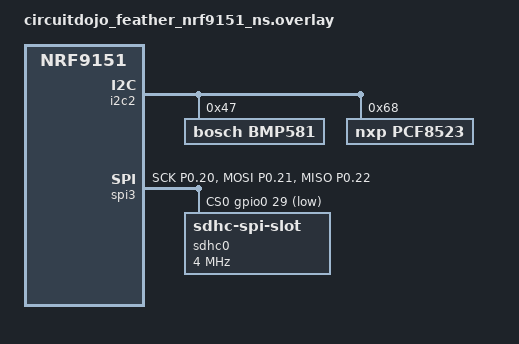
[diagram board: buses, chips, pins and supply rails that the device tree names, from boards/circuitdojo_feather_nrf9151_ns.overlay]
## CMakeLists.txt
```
# SPDX-License-Identifier: Apache-2.0

cmake_minimum_required(VERSION 3.20.0)
find_package(Zephyr REQUIRED HINTS $ENV{ZEPHYR_BASE})
project(flight_timer)

target_sources(app PRIVATE
    src/main.c
    src/supl_assist.c
    src/gps_state.c
    src/baro_state.c
    src/rtc_sync.c
    src/sd_logger.c
    src/session_mgr.c
    src/flight_timer.c
    src/session_upload.c
    src/power_mgr.c
)

target_include_directories(app PRIVATE src)
```

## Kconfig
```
# Flight Timer Application Kconfig

menu "Flight Timer Configuration"

config GNSS_SAMPLE_SUPL_HOSTNAME
	string "SUPL server hostname"
	default "supl.google.com"
	help
	  Hostname for SUPL A-GNSS assistance server.
	  Common options: supl.google.com, supl.nokia.com, lbs.geo.t-mobile.com

config GNSS_SAMPLE_SUPL_PORT
	int "SUPL server port"
	default 7276
	help
	  Port for SUPL A-GNSS assistance server.

config FLIGHT_TIMER_LOG_BACKEND_SD
	bool "Enable SD card log backend"
	default y
	depends on LOG
	help
	  Enables logging to SD card file.

endmenu

source "Kconfig.zephyr"
```

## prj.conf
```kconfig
# General
CONFIG_GPIO=y
CONFIG_FPU=y
CONFIG_STDOUT_CONSOLE=y
CONFIG_UART_INTERRUPT_DRIVEN=y
CONFIG_PICOLIBC_IO_FLOAT=n

# Use newlib for SUPL compatibility
CONFIG_NEWLIB_LIBC=y
CONFIG_NEWLIB_LIBC_NANO=n
CONFIG_NEWLIB_LIBC_FLOAT_PRINTF=y

# Logging - deferred mode required for LOG_BACKEND_FS
CONFIG_LOG=y
CONFIG_LOG_MODE_DEFERRED=y
CONFIG_LOG_BUFFER_SIZE=16384
CONFIG_LOG_DEFAULT_LEVEL=3
CONFIG_LOG_PRINTK=y
CONFIG_LOG_TIMESTAMP_USE_REALTIME=y

# Reduce kernel/OS log level to suppress mutex debug messages
CONFIG_KERNEL_LOG_LEVEL_WRN=y

# Filesystem logging backend - optimized for 512MB SD card
CONFIG_LOG_BACKEND_FS=y
CONFIG_LOG_BACKEND_FS_DIR="/SD:"
CONFIG_LOG_BACKEND_FS_FILE_PREFIX="log."
CONFIG_LOG_BACKEND_FS_FILE_SIZE=1048576
CONFIG_LOG_BACKEND_FS_FILES_LIMIT=400
CONFIG_LOG_BACKEND_FS_OVERWRITE=y
CONFIG_LOG_BACKEND_FS_APPEND_TO_NEWEST_FILE=y

# nRF Modem library
CONFIG_NRF_MODEM_LIB=y

# LTE Link Control with GPS support
CONFIG_LTE_LINK_CONTROL=y
CONFIG_LTE_NETWORK_MODE_LTE_M_GPS=y

# Power saving for LTE
CONFIG_LTE_LC_PSM_MODULE=y
CONFIG_LTE_PSM_REQ=y
CONFIG_LTE_PSM_REQ_RPTAU="00101000"
CONFIG_LTE_PSM_REQ_RAT="00000011"
CONFIG_LTE_LC_EDRX_MODULE=y
CONFIG_LTE_EDRX_REQ=y

# SUPL client for A-GNSS
CONFIG_SUPL_CLIENT_LIB=y

# Networking for SUPL
CONFIG_NETWORKING=y
CONFIG_NET_SOCKETS_OFFLOAD=y
CONFIG_NET_SOCKETS=y
CONFIG_NET_NATIVE=n
CONFIG_POSIX_API=y

# HTTP client for session uploads
CONFIG_HTTP_CLIENT=y

# I2C for sensors
CONFIG_I2C=y

# SPI for SD card
CONFIG_SPI=y

# BMP581 barometric pressure sensor
CONFIG_SENSOR=y
CONFIG_BMP581=y

# RTC
CONFIG_RTC=y
CONFIG_RTC_PCF8523=y

# SD card and filesystem
CONFIG_DISK_ACCESS=y
CONFIG_DISK_DRIVER_SDMMC=y
CONFIG_SDMMC_STACK=y
CONFIG_SDHC=y
CONFIG_SPI_SDHC=y
# SD init timeout (milliseconds) - reduce for faster failure, increase if card is slow
CONFIG_SD_INIT_TIMEOUT=1000
CONFIG_FILE_SYSTEM=y
CONFIG_FAT_FILESYSTEM_ELM=y
CONFIG_FS_FATFS_LFN=y
CONFIG_FS_FATFS_LFN_MODE_HEAP=y
CONFIG_FS_FATFS_MAX_LFN=255
CONFIG_FS_FATFS_REENTRANT=y

# Hardware information for device ID
CONFIG_HWINFO=y
CONFIG_HW_ID_LIBRARY=y
CONFIG_HW_ID_LIBRARY_SOURCE_DEVICE_ID=y

# Random number generator for UUID
CONFIG_ENTROPY_GENERATOR=y
CONFIG_TEST_RANDOM_GENERATOR=n

# Memory configuration
CONFIG_HEAP_MEM_POOL_SIZE=8192
CONFIG_MAIN_STACK_SIZE=20480
CONFIG_SYSTEM_WORKQUEUE_STACK_SIZE=4096
CONFIG_LOG_PROCESS_THREAD_STACK_SIZE=4096
CONFIG_LTE_LC_WORKQUEUE_STACK_SIZE=2048

# Enable heap runtime statistics for memory usage monitoring
CONFIG_SYS_HEAP_RUNTIME_STATS=y

# Enable thread runtime statistics for CPU utilization monitoring
CONFIG_THREAD_RUNTIME_STATS=y
CONFIG_SCHED_THREAD_USAGE=y
CONFIG_SCHED_THREAD_USAGE_ALL=y
CONFIG_SCHED_THREAD_USAGE_AUTO_ENABLE=y

# PMIC LED driver (from board config)
CONFIG_LED=y
CONFIG_LED_NPM1300=y

# Disable unused MCUboot/DFU features to silence warnings
CONFIG_IMG_MANAGER=n
CONFIG_MCUBOOT_IMG_MANAGER=n

# Disable external flash (we're using SPI3 for SD card instead)
CONFIG_SPI_NOR=n
CONFIG_PM_EXTERNAL_FLASH_MCUBOOT_SECONDARY=n

# Power off support for graceful shutdown
CONFIG_POWEROFF=y
```

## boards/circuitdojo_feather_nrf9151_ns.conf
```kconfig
# Board-specific configuration for Circuit Dojo nRF9151 Feather

# Logging
CONFIG_LOG=y
CONFIG_LOG_PRINTK=y

# Enable I2C
CONFIG_I2C=y

# PMIC LED driver
CONFIG_LED=y
CONFIG_LED_NPM1300=y

# SUPL server configuration
CONFIG_GNSS_SAMPLE_SUPL_HOSTNAME="supl.google.com"
CONFIG_GNSS_SAMPLE_SUPL_PORT=7276
```

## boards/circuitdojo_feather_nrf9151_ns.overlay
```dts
/*
 * Flight Timer devicetree overlay for Circuit Dojo nRF9151 Feather
 *
 * Disables onboard flash and reconfigures SPI3 for SD card:
 *   - SCK  = P0.20
 *   - MOSI = P0.21
 *   - MISO = P0.22
 *   - CS   = P0.29
 */

/ {
	aliases {
		rtc = &pcf8523;
		pressure = &bmp581;
		/delete-property/ spi-flash0;
		/delete-property/ ext-flash;
	};

	chosen {
		/delete-property/ nordic,pm-ext-flash;
	};

	/* Disable the littlefs fstab entry that uses flash */
	fstab {
		/delete-node/ lfs;
	};
};

/* Override SPI3 pinctrl for SD card pins */
&pinctrl {
	spi3_default: spi3_default {
		group1 {
			psels = <NRF_PSEL(SPIM_SCK, 0, 20)>,
				<NRF_PSEL(SPIM_MOSI, 0, 21)>,
				<NRF_PSEL(SPIM_MISO, 0, 22)>;
		};
	};

	spi3_sleep: spi3_sleep {
		group1 {
			psels = <NRF_PSEL(SPIM_SCK, 0, 20)>,
				<NRF_PSEL(SPIM_MOSI, 0, 21)>,
				<NRF_PSEL(SPIM_MISO, 0, 22)>;
			low-power-enable;
		};
	};
};

/* I2C2 bus: BMP581 barometer, PCF8523 RTC */
&i2c2 {
	status = "okay";

	/* BMP581 barometric pressure sensor */
	bmp581: bmp581@47 {
		compatible = "bosch,bmp581";
		reg = <0x47>;
	};

	/* PCF8523 RTC with battery backup */
	pcf8523: rtc@68 {
		compatible = "nxp,pcf8523";
		reg = <0x68>;
		battery-switch-over = "standard";
		quartz-load-femtofarads = <7000>;
	};
};

/* Disable the onboard flash */
&w25q128jv {
	status = "disabled";
};

/* Reconfigure SPI3 for SD card */
&spi3 {
	status = "okay";
	cs-gpios = <&gpio0 29 GPIO_ACTIVE_LOW>;
	pinctrl-0 = <&spi3_default>;
	pinctrl-1 = <&spi3_sleep>;
	pinctrl-names = "default", "sleep";

	/delete-node/ w25q128jv@0;

	sdhc0: sdhc@0 {
		compatible = "zephyr,sdhc-spi-slot";
		reg = <0>;
		status = "okay";
		/* 4MHz for data transfer - driver uses 400KHz for init automatically */
		spi-max-frequency = <4000000>;
		power-delay-ms = <500>;
		mmc {
			compatible = "zephyr,sdmmc-disk";
			disk-name = "SD";
			status = "okay";
		};
	};
};
```

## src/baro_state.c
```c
/*
 * Barometer State Machine
 * Tracks flight state based on pressure altitude changes
 */

#include "baro_state.h"

#include <zephyr/kernel.h>
#include <zephyr/logging/log.h>
#include <math.h>
#include <string.h>

LOG_MODULE_REGISTER(baro_state, CONFIG_LOG_DEFAULT_LEVEL);

/* Configuration */
#define SAMPLE_RATE_HZ          10      /* 10 Hz sampling */
#define BUFFER_SECONDS          20      /* 20 second window */
#define BUFFER_SIZE             (SAMPLE_RATE_HZ * BUFFER_SECONDS)  /* 200 samples */
#define SAMPLES_TO_DISCARD      10      /* Discard first 10 samples as they may be wrong */

/* Thresholds */
#define STDDEV_FLIGHT_THRESHOLD_FT  3.0f    /* StdDev > 3.0 ft = flight */
#define STDDEV_GROUND_THRESHOLD_FT  2.0f    /* StdDev < 2.0 ft = ground */
#define VERTICAL_RATE_CLIMB_FPM     200.0f  /* > 200 fpm = climbing */
#define VERTICAL_RATE_DESCEND_FPM   -200.0f /* < -200 fpm = descending */
#define CRUISE_GUARD_TIME_MS        (2 * 60 * 1000)  /* 2 minutes */

/* Standard atmosphere constants */
#define SEA_LEVEL_PRESSURE_PA   101325.0f
#define ALTITUDE_CONSTANT       145366.45f
#define PRESSURE_EXPONENT       0.190284f

/* Circular buffer for altitude samples */
struct altitude_sample {
	float altitude_ft;
	int64_t timestamp_ms;
};

static struct altitude_sample sample_buffer[BUFFER_SIZE];
static uint16_t buffer_head = 0;
static uint16_t buffer_count = 0;
static bool buffer_filled_logged = false;  /* Track if we've logged buffer fill */
static uint32_t samples_discarded = 0;  /* Count of samples discarded at startup */

static struct baro_state_data state_data;
static baro_state_t last_vertical_state = BARO_STATE_GROUND;  /* Track last climbing/descending state */

float baro_pressure_to_altitude_ft(float pressure_pa)
{
	if (pressure_pa <= 0) {
		return 0.0f;
	}
	return ALTITUDE_CONSTANT * (1.0f - powf(pressure_pa / SEA_LEVEL_PRESSURE_PA, PRESSURE_EXPONENT));
}

static void add_sample(float altitude_ft, int64_t timestamp_ms)
{
	sample_buffer[buffer_head].altitude_ft = altitude_ft;
	sample_buffer[buffer_head].timestamp_ms = timestamp_ms;
	
	buffer_head = (buffer_head + 1) % BUFFER_SIZE;
	if (buffer_count < BUFFER_SIZE) {
		buffer_count++;
		/* Log when 20-second sliding window is first filled */
		if (buffer_count == BUFFER_SIZE && !buffer_filled_logged) {
			LOG_INF("Baro 20-second sliding window filled and ready (%u samples)", buffer_count);
			buffer_filled_logged = true;
		}
	}
}

static float calculate_mean(void)
{
	if (buffer_count == 0) {
		return 0.0f;
	}

	float sum = 0.0f;
	for (uint16_t i = 0; i < buffer_count; i++) {
		sum += sample_buffer[i].altitude_ft;
	}
	return sum / buffer_count;
}

static float calculate_std_dev(float mean)
{
	if (buffer_count < 2) {
		return 0.0f;
	}

	float sum_sq = 0.0f;
	for (uint16_t i = 0; i < buffer_count; i++) {
		float diff = sample_buffer[i].altitude_ft - mean;
		sum_sq += diff * diff;
	}
	return sqrtf(sum_sq / (buffer_count - 1));
}

static float calculate_vertical_rate(void)
{
	if (buffer_count < 2) {
		return 0.0f;
	}

	/* Use linear regression for smoothed vertical rate */
	/* Or simple delta between oldest and newest samples */
	
	/* Find oldest valid sample */
	uint16_t oldest_idx = (buffer_head + BUFFER_SIZE - buffer_count) % BUFFER_SIZE;
	uint16_t newest_idx = (buffer_head + BUFFER_SIZE - 1) % BUFFER_SIZE;
	
	float alt_diff = sample_buffer[newest_idx].altitude_ft - 
	                 sample_buffer[oldest_idx].altitude_ft;
	int64_t time_diff_ms = sample_buffer[newest_idx].timestamp_ms - 
	                       sample_buffer[oldest_idx].timestamp_ms;
	
	if (time_diff_ms <= 0) {
		return 0.0f;
	}

	/* Convert to feet per minute */
	float time_diff_min = (float)time_diff_ms / 60000.0f;
	return alt_diff / time_diff_min;
}

int baro_state_init(void)
{
	memset(&state_data, 0, sizeof(state_data));
	memset(sample_buffer, 0, sizeof(sample_buffer));
	
	buffer_head = 0;
	buffer_count = 0;
	buffer_filled_logged = false;
	samples_discarded = 0;
	
	state_data.state = BARO_STATE_GROUND;
	state_data.prev_state = BARO_STATE_GROUND;
	state_data.state_enter_time_ms = k_uptime_get();
	state_data.cruise_start_time_ms = 0;
	state_data.in_flight = false;
	last_vertical_state = BARO_STATE_GROUND;

	LOG_INF("Barometer state machine initialized (buffer: %d samples)", BUFFER_SIZE);
	return 0;
}

bool baro_state_update(float pressure_pa, float temperature_c)
{
	int64_t now = k_uptime_get();
	baro_state_t old_state = state_data.state;
	baro_state_t new_state = old_state;

	/* Update current values */
	state_data.pressure_pa = pressure_pa;
	state_data.temperature_c = temperature_c;
	state_data.altitude_ft = baro_pressure_to_altitude_ft(pressure_pa);

	/* Discard first 10 samples as they may be wrong */
	if (samples_discarded < SAMPLES_TO_DISCARD) {
		samples_discarded++;
		/* Don't add to buffer, but still update current values for display */
		/* Return false to indicate no state change */
		return false;
	}

	/* Add sample to buffer */
	add_sample(state_data.altitude_ft, now);

	/* Calculate statistics (only if we have enough samples) */
	if (buffer_count >= SAMPLE_RATE_HZ) {  /* At least 1 second of data */
		float mean = calculate_mean();
		state_data.altitude_std_dev_ft = calculate_std_dev(mean);
		state_data.vertical_rate_fpm = calculate_vertical_rate();
	}

	/* Determine if we're in flight based on altitude variability */
	bool altitude_indicates_flight = state_data.altitude_std_dev_ft > STDDEV_FLIGHT_THRESHOLD_FT;
	bool altitude_indicates_ground = state_data.altitude_std_dev_ft < STDDEV_GROUND_THRESHOLD_FT;

	/* Determine vertical state */
	baro_state_t vertical_state;
	if (state_data.vertical_rate_fpm > VERTICAL_RATE_CLIMB_FPM) {
		vertical_state = BARO_STATE_CLIMBING;
	} else if (state_data.vertical_rate_fpm < VERTICAL_RATE_DESCEND_FPM) {
		vertical_state = BARO_STATE_DESCENDING;
	} else {
		vertical_state = BARO_STATE_CRUISING;
	}

	/* State machine logic with guards */
	switch (old_state) {
	case BARO_STATE_GROUND:
		if (altitude_indicates_flight) {
			/* Entering flight - determine vertical state */
			new_state = vertical_state;
			state_data.in_flight = true;
		}
		break;

	case BARO_STATE_CLIMBING:
		if (altitude_indicates_ground) {
			/* Guard: Cannot transition directly from climb to ground */
			/* Must go through cruise or descent first */
			if (state_data.vertical_rate_fpm < VERTICAL_RATE_CLIMB_FPM) {
				new_state = BARO_STATE_CRUISING;
				state_data.cruise_start_time_ms = now;
			}
		} else {
			/* Update vertical state */
			if (state_data.vertical_rate_fpm < VERTICAL_RATE_DESCEND_FPM) {
				new_state = BARO_STATE_DESCENDING;
			} else if (state_data.vertical_rate_fpm < VERTICAL_RATE_CLIMB_FPM &&
			           state_data.vertical_rate_fpm > VERTICAL_RATE_DESCEND_FPM) {
				new_state = BARO_STATE_CRUISING;
				state_data.cruise_start_time_ms = now;
			}
		}
		break;

	case BARO_STATE_CRUISING:
		if (altitude_indicates_ground) {
			/* Guard: Cannot transition to ground if cruising for > 2 min */
			int64_t cruise_duration = now - state_data.cruise_start_time_ms;
			if (cruise_duration < CRUISE_GUARD_TIME_MS) {
				/* Additional guard: Prevent false landing if previous vertical state was climbing */
				if (last_vertical_state != BARO_STATE_CLIMBING) {
					new_state = BARO_STATE_GROUND;
					state_data.in_flight = false;
				}
				/* If previous state was CLIMBING, stay in cruise until descent */
			}
			/* If > 2 min cruise, stay in cruise until descent */
		} else {
			/* Update vertical state */
			if (state_data.vertical_rate_fpm > VERTICAL_RATE_CLIMB_FPM) {
				new_state = BARO_STATE_CLIMBING;
			} else if (state_data.vertical_rate_fpm < VERTICAL_RATE_DESCEND_FPM) {
				new_state = BARO_STATE_DESCENDING;
			}
		}
		break;

	case BARO_STATE_DESCENDING:
		if (altitude_indicates_ground) {
			/* Guard: Prevent false landing if previous vertical state was climbing */
			/* Descending to ground is allowed only if we didn't come from climbing */
			if (last_vertical_state != BARO_STATE_CLIMBING) {
				new_state = BARO_STATE_GROUND;
				state_data.in_flight = false;
			}
			/* If previous state was CLIMBING, stay in descending (need more descent time) */
		} else {
			/* Update vertical state */
			if (state_data.vertical_rate_fpm > VERTICAL_RATE_CLIMB_FPM) {
				new_state = BARO_STATE_CLIMBING;
			} else if (state_data.vertical_rate_fpm > VERTICAL_RATE_DESCEND_FPM &&
			           state_data.vertical_rate_fpm < VERTICAL_RATE_CLIMB_FPM) {
				new_state = BARO_STATE_CRUISING;
				state_data.cruise_start_time_ms = now;
			}
		}
		break;
	}

	/* Update last_vertical_state when entering climbing or descending */
	if (new_state == BARO_STATE_CLIMBING || new_state == BARO_STATE_DESCENDING) {
		last_vertical_state = new_state;
	}
	
	/* Reset last_vertical_state when successfully entering ground */
	if (new_state == BARO_STATE_GROUND && old_state != BARO_STATE_GROUND) {
		last_vertical_state = BARO_STATE_GROUND;
	}

	/* Update state if changed */
	if (new_state != old_state) {
		state_data.prev_state = old_state;
		state_data.state = new_state;
		state_data.state_enter_time_ms = now;

		LOG_INF("Baro state: %s -> %s (stddev: %.2f ft, vrate: %.0f fpm)",
			baro_state_name(old_state),
			baro_state_name(new_state),
			(double)state_data.altitude_std_dev_ft,
			(double)state_data.vertical_rate_fpm);

		return true;
	}

	return false;
}

baro_state_t baro_state_get(void)
{
	return state_data.state;
}

const struct baro_state_data *baro_state_get_data(void)
{
	return &state_data;
}

const char *baro_state_name(baro_state_t state)
{
	switch (state) {
	case BARO_STATE_GROUND:     return "ground";
	case BARO_STATE_CLIMBING:   return "climbing";
	case BARO_STATE_CRUISING:   return "cruising";
	case BARO_STATE_DESCENDING: return "descending";
	default:                    return "invalid";
	}
}

char baro_state_code(baro_state_t state)
{
	switch (state) {
	case BARO_STATE_GROUND:     return 'G';
	case BARO_STATE_CLIMBING:   return 'C';
	case BARO_STATE_CRUISING:   return 'R';
	case BARO_STATE_DESCENDING: return 'D';
	default:                    return '?';
	}
}

bool baro_state_is_in_flight(void)
{
	return state_data.in_flight;
}
```

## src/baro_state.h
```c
/*
 * Barometer State Machine
 * Tracks flight state based on pressure altitude changes
 */

#ifndef BARO_STATE_H
#define BARO_STATE_H

#include <stdint.h>
#include <stdbool.h>

/**
 * @brief Barometer-based flight states
 */
typedef enum {
	BARO_STATE_GROUND = 0,   /* On ground, stable altitude */
	BARO_STATE_CLIMBING,     /* Ascending > 200 fpm */
	BARO_STATE_CRUISING,     /* Level flight */
	BARO_STATE_DESCENDING,   /* Descending > 200 fpm */
} baro_state_t;

/**
 * @brief Barometer state data structure
 */
struct baro_state_data {
	baro_state_t state;
	baro_state_t prev_state;
	int64_t state_enter_time_ms;
	int64_t cruise_start_time_ms;  /* Track cruise duration for guards */
	float pressure_pa;
	float temperature_c;
	float altitude_ft;
	float altitude_std_dev_ft;
	float vertical_rate_fpm;
	bool in_flight;  /* Combined flight indicator */
};

/**
 * @brief Initialize barometer state machine
 * @return 0 on success, negative errno on failure
 */
int baro_state_init(void);

/**
 * @brief Add a new pressure sample and update state
 * @param pressure_pa Pressure in Pascals
 * @param temperature_c Temperature in Celsius
 * @return true if state changed, false otherwise
 */
bool baro_state_update(float pressure_pa, float temperature_c);

/**
 * @brief Get current barometer state
 * @return Current state
 */
baro_state_t baro_state_get(void);

/**
 * @brief Get barometer state data
 * @return Pointer to state data (read-only)
 */
const struct baro_state_data *baro_state_get_data(void);

/**
 * @brief Get state name string
 * @param state State enum value
 * @return State name string
 */
const char *baro_state_name(baro_state_t state);

/**
 * @brief Get single-char state code for logging
 * @param state State enum value
 * @return Single character code
 */
char baro_state_code(baro_state_t state);

/**
 * @brief Check if barometer indicates in-flight
 * @return true if in flight, false if on ground
 */
bool baro_state_is_in_flight(void);

/**
 * @brief Convert pressure to altitude
 * @param pressure_pa Pressure in Pascals
 * @return Altitude in feet (standard atmosphere)
 */
float baro_pressure_to_altitude_ft(float pressure_pa);

#endif /* BARO_STATE_H */
```

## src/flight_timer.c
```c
/*
 * Flight Timer Module
 * Coordinates state machines and manages flight timing
 */

#include "flight_timer.h"
#include "gps_state.h"
#include "baro_state.h"
#include "session_mgr.h"
#include "rtc_sync.h"
#include "session_upload.h"

#include <zephyr/kernel.h>
#include <zephyr/logging/log.h>
#include <zephyr/sys/sys_heap.h>
#include <zephyr/sys/mem_stats.h>
#include <stdio.h>
#include <modem/nrf_modem_lib.h>

/* External system heap for memory stats */
extern struct sys_heap _system_heap;

LOG_MODULE_REGISTER(flight_timer, CONFIG_LOG_DEFAULT_LEVEL);

#define SAVE_INTERVAL_MS     30000  /* Save every 30 seconds */
#define SAMPLE_INTERVAL_MS   100    /* Collect baro samples every 100ms (10 Hz) */
#define LOG_INTERVAL_MS      1000   /* Log CSV every 1 second */
#define STATUS_INTERVAL_MS   60000  /* Status update every 60 seconds */
#define MAX_BARO_SAMPLES     12     /* Max baro samples per second */
#define BARO_UNAVAILABLE_MS  5000   /* Barometer considered unavailable if no update for 5 seconds */
#define STATUS_CHANGE_BUFFER_SIZE 200  /* Buffer for flight status changes */
#define MIN_BARO_SAMPLES_FOR_STATE_CHANGE 200  /* Minimum samples needed before allowing state changes (20 seconds at 10 Hz) */

static struct flight_timer_data timer_data;
static int64_t last_save_time_ms = 0;
static int64_t last_sample_time_ms = 0;
static int64_t last_log_time_ms = 0;
static int64_t last_status_time_ms = 0;
static int64_t last_baro_update_time_ms = 0;  /* Track last barometer update for availability */
static gps_state_t last_gps_state = GPS_STATE_UNKNOWN;
static baro_state_t last_baro_state = BARO_STATE_GROUND;

/* Buffer for baro pressure samples (collected at 10Hz, logged once per second) */
static float baro_samples[MAX_BARO_SAMPLES];
static uint8_t baro_sample_count = 0;
static uint32_t total_baro_samples_collected = 0;  /* Total samples collected since start (never reset) */
static uint32_t baro_samples_discarded = 0;  /* Count of samples discarded at startup */
#define BARO_SAMPLES_TO_DISCARD 10  /* Discard first 10 samples as they may be wrong */

/* Sample rate tracking */
static uint32_t total_samples_collected = 0;  /* Total samples in current status period */
static int64_t status_period_start_ms = 0;     /* Start time of current status period */

/* Flight status change buffer */
static struct state_change_entry status_change_buffer[STATUS_CHANGE_BUFFER_SIZE];
static uint16_t status_change_count = 0;  /* Number of entries in buffer */
static uint16_t status_change_index = 0;  /* Current write index (circular buffer) */

/* Forward declaration */
static void record_status_change(flight_status_t status, int64_t timestamp_ms);

static void update_flight_status(void)
{
	gps_state_t gps = gps_state_get();
	baro_state_t baro = baro_state_get();
	flight_status_t old_status = timer_data.status;
	flight_status_t new_status;
	int64_t now = k_uptime_get();

	/* Prevent state changes until baro buffer has collected enough samples */
	/* Always start in GROUND and stay there until sensors are ready */
	if (total_baro_samples_collected < MIN_BARO_SAMPLES_FOR_STATE_CHANGE) {
		/* Buffer still filling up - ensure we stay in GROUND state */
		if (old_status != FLIGHT_STATUS_GROUND) {
			timer_data.status = FLIGHT_STATUS_GROUND;
		}
		return;
	}

	/* Check if barometer is available (has recent updates) */
	bool baro_available = (last_baro_update_time_ms > 0) &&
	                      (now - last_baro_update_time_ms) < BARO_UNAVAILABLE_MS;

	/* Determine flight state using improved algorithm */
	bool is_flying = false;

	if (baro_available) {
		/* Barometer available: use as default, GPS as override */
		/* Default: barometer state (climbing/descending/cruising = flying) */
		bool baro_flying = (baro == BARO_STATE_CLIMBING ||
		                    baro == BARO_STATE_CRUISING ||
		                    baro == BARO_STATE_DESCENDING);
		
		/* Override: GPS flight forces flying, GPS stopped forces ground */
		if (gps == GPS_STATE_FLIGHT) {
			is_flying = true;  /* GPS override: flying */
		} else if (gps == GPS_STATE_STOPPED) {
			is_flying = false;  /* GPS override: ground */
		} else {
			/* Use barometer default */
			is_flying = baro_flying;
		}
	} else {
		/* Barometer unavailable: use GPS as fallback */
		is_flying = (gps == GPS_STATE_FLIGHT);
	}

	new_status = is_flying ? FLIGHT_STATUS_AIRBORNE : FLIGHT_STATUS_GROUND;

	/* Update airborne tracking */
	if (new_status == FLIGHT_STATUS_AIRBORNE && !timer_data.currently_airborne) {
		/* Just became airborne */
		timer_data.currently_airborne = true;
		timer_data.flight_start_ms = now;
		LOG_INF("Became airborne (baro_avail=%d, baro=%s, gps=%s)",
			baro_available,
			baro_state_name(baro),
			gps_state_name(gps));
	} else if (new_status != FLIGHT_STATUS_AIRBORNE && timer_data.currently_airborne) {
		/* No longer airborne - accumulate flight time */
		timer_data.currently_airborne = false;
		timer_data.total_flight_time_ms += (now - timer_data.flight_start_ms);
		LOG_INF("No longer airborne, total flight time: %lld ms (baro_avail=%d, baro=%s, gps=%s)",
			timer_data.total_flight_time_ms,
			baro_available,
			baro_state_name(baro),
			gps_state_name(gps));
	}

	if (new_status != old_status) {
		timer_data.status = new_status;
		LOG_INF("Flight status: %s (baro_avail=%d, baro=%s, gps=%s)",
			new_status == FLIGHT_STATUS_GROUND ? "ground" : "flying",
			baro_available,
			baro_state_name(baro),
			gps_state_name(gps));
		
		/* Record status change in buffer */
		record_status_change(new_status, now);
		
		/* Update session.json immediately when master state changes */
		flight_timer_save();
		
		/* Trigger upload on state change */
		/* If entering ground state and LTE is ready, upload all sessions (active + prior) */
		if (new_status == FLIGHT_STATUS_GROUND && session_upload_is_lte_ready()) {
			session_upload_all();
		} else {
			/* Otherwise just upload active session */
			session_upload_trigger(true);
		}
	}
}

static void record_status_change(flight_status_t status, int64_t timestamp_ms)
{
	/* Add entry to circular buffer */
	status_change_buffer[status_change_index].status = status;
	status_change_buffer[status_change_index].timestamp_ms = timestamp_ms;
	
	/* Update circular buffer index */
	status_change_index = (status_change_index + 1) % STATUS_CHANGE_BUFFER_SIZE;
	
	/* Update count (stop incrementing when buffer is full) */
	if (status_change_count < STATUS_CHANGE_BUFFER_SIZE) {
		status_change_count++;
	}
}

uint16_t flight_timer_get_status_changes(struct state_change_entry *buffer, uint16_t max_count)
{
	if (buffer == NULL || max_count == 0) {
		return 0;
	}

	uint16_t copy_count = status_change_count;
	if (copy_count > max_count) {
		copy_count = max_count;
	}

	if (copy_count == 0) {
		return 0;
	}

	/* Handle circular buffer - copy in chronological order (oldest first) */
	if (status_change_count < STATUS_CHANGE_BUFFER_SIZE) {
		/* Buffer not yet wrapped - simple linear copy from start */
		memcpy(buffer, status_change_buffer, copy_count * sizeof(struct state_change_entry));
	} else {
		/* Buffer has wrapped - status_change_index points to oldest entry */
		/* Copy oldest entries from status_change_index to end of buffer */
		uint16_t first_part = STATUS_CHANGE_BUFFER_SIZE - status_change_index;
		if (copy_count <= first_part) {
			/* All requested entries are in the first part */
			memcpy(buffer, &status_change_buffer[status_change_index],
				copy_count * sizeof(struct state_change_entry));
		} else {
			/* Copy from status_change_index to end */
			memcpy(buffer, &status_change_buffer[status_change_index],
				first_part * sizeof(struct state_change_entry));
			/* Copy remaining from start of buffer */
			uint16_t remaining = copy_count - first_part;
			memcpy(&buffer[first_part], status_change_buffer,
				remaining * sizeof(struct state_change_entry));
		}
	}

	return copy_count;
}

static void collect_baro_sample(float pressure_pa)
{
	/* Discard first 10 samples as they may be wrong */
	if (baro_samples_discarded < BARO_SAMPLES_TO_DISCARD) {
		baro_samples_discarded++;
		total_baro_samples_collected++;  /* Still count for state change logic */
		return;
	}
	
	if (baro_sample_count < MAX_BARO_SAMPLES) {
		baro_samples[baro_sample_count++] = pressure_pa;
		total_samples_collected++;  /* Track for rate calculation */
		total_baro_samples_collected++;  /* Track total samples (never reset) */
	} else {
		LOG_WRN("Baro sample buffer full (%u/%u), dropping sample", 
			baro_sample_count, MAX_BARO_SAMPLES);
	}
}

static void log_csv_line(void)
{
	const struct gps_state_data *gps_data = gps_state_get_data();
	const struct baro_state_data *baro_data = baro_state_get_data();
	flight_status_t flight_status = flight_timer_get_status();
	
	/* Format: flight_status,baro_state,gps_state,lat,lon,speed,alt,temp,p1,p2,p3... */
	char line[256];
	int pos = 0;
	
	/* Header data: states, GPS position, speed, GPS altitude, temperature */
	pos += snprintf(line + pos, sizeof(line) - pos,
		"CSV,%c,%c,%c,%.6f,%.6f,%.1f,%.1f,%.1f",
		flight_status == FLIGHT_STATUS_GROUND ? 'G' : 'F',
		baro_state_code(baro_data->state),
		gps_state_code(gps_data->state),
		gps_data->latitude,
		gps_data->longitude,
		(double)gps_data->speed_kts,
		(double)gps_data->altitude_m,
		(double)baro_data->temperature_c);
	
	/* Append all baro pressure samples from the last second */
	for (uint8_t i = 0; i < baro_sample_count && pos < (int)(sizeof(line) - 20); i++) {
		pos += snprintf(line + pos, sizeof(line) - pos, ",%.1f", (double)baro_samples[i]);
	}
	
	LOG_INF("%s", line);
	
	/* Reset sample buffer for next second */
	baro_sample_count = 0;
}

int flight_timer_init(void)
{
	int64_t now = k_uptime_get();
	
	memset(&timer_data, 0, sizeof(timer_data));
	timer_data.status = FLIGHT_STATUS_GROUND;
	timer_data.currently_airborne = false;
	
	last_save_time_ms = 0;
	last_sample_time_ms = 0;
	last_log_time_ms = 0;
	last_status_time_ms = 0;
	last_baro_update_time_ms = 0;
	last_gps_state = GPS_STATE_UNKNOWN;
	last_baro_state = BARO_STATE_GROUND;
	baro_sample_count = 0;
	total_samples_collected = 0;
	total_baro_samples_collected = 0;
	baro_samples_discarded = 0;
	status_period_start_ms = 0;
	
	/* Initialize status change buffer with default state */
	memset(status_change_buffer, 0, sizeof(status_change_buffer));
	status_change_count = 0;
	status_change_index = 0;
	record_status_change(FLIGHT_STATUS_GROUND, now);

	LOG_INF("Flight timer initialized");
	return 0;
}

int flight_timer_start(void)
{
	int64_t now = k_uptime_get();
	
	timer_data.session_start_ms = now;
	timer_data.flight_start_ms = 0;
	timer_data.total_flight_time_ms = 0;
	timer_data.currently_airborne = false;
	timer_data.status = FLIGHT_STATUS_GROUND;
	
	last_save_time_ms = timer_data.session_start_ms;
	last_sample_time_ms = timer_data.session_start_ms;
	last_log_time_ms = timer_data.session_start_ms;
	last_status_time_ms = timer_data.session_start_ms;
	last_baro_update_time_ms = timer_data.session_start_ms;
	baro_sample_count = 0;
	total_samples_collected = 0;
	total_baro_samples_collected = 0;
	baro_samples_discarded = 0;
	status_period_start_ms = timer_data.session_start_ms;
	
	/* Reset status change buffer and initialize with default state */
	status_change_count = 0;
	status_change_index = 0;
	record_status_change(FLIGHT_STATUS_GROUND, now);

	LOG_INF("Flight timer started");
	return 0;
}

void flight_timer_process_gps(const struct nrf_modem_gnss_pvt_data_frame *pvt)
{
	if (pvt == NULL) {
		return;
	}

	/* Update GPS state machine */
	gps_state_update(pvt);
	gps_state_t new_state = gps_state_get();
	last_gps_state = new_state;

	/* Sync RTC from GPS time if we have a valid fix */
	if (pvt->flags & NRF_MODEM_GNSS_PVT_FLAG_FIX_VALID) {
		rtc_sync_from_gps(&pvt->datetime, pvt->flags);
		
		/* Update session position tracking */
		const struct gps_state_data *gps_data = gps_state_get_data();
		if (gps_data->latitude != 0.0 && gps_data->longitude != 0.0) {
			/* Set start position on first valid fix */
			bool start_pos_set = session_mgr_set_start_position(gps_data->latitude, gps_data->longitude);
			/* Update stop position (most recent position) */
			session_mgr_update_position(gps_data->latitude, gps_data->longitude);
			
			/* Save session immediately when GPS first gets a fix */
			if (start_pos_set) {
				flight_timer_save();
			}
		}
	}

	/* Update combined flight status */
	update_flight_status();
}

void flight_timer_process_baro(float pressure_pa, float temperature_c)
{
	int64_t now = k_uptime_get();
	
	/* Update barometer state machine */
	baro_state_update(pressure_pa, temperature_c);
	baro_state_t new_state = baro_state_get();
	last_baro_state = new_state;
	
	/* Update barometer availability timestamp */
	last_baro_update_time_ms = now;

	/* Update combined flight status */
	update_flight_status();
	
	/* Collect baro pressure sample at 10 Hz */
	if (now - last_sample_time_ms >= SAMPLE_INTERVAL_MS) {
		collect_baro_sample(pressure_pa);
		last_sample_time_ms = now;
	}
	
	/* Log CSV line once per second */
	if (now - last_log_time_ms >= LOG_INTERVAL_MS) {
		log_csv_line();
		last_log_time_ms = now;
	}
	
	/* Print status update every 10 seconds */
	if (now - last_status_time_ms >= STATUS_INTERVAL_MS) {
		const struct gps_state_data *gps_data = gps_state_get_data();
		const struct baro_state_data *baro_data = baro_state_get_data();
		const struct session_data *session = session_mgr_get_data();
		
		int64_t elapsed = session_mgr_get_elapsed_ms();
		
		/* Calculate samples per second over the status period */
		int64_t status_period_ms = now - status_period_start_ms;
		float samples_per_sec = 0.0f;
		if (status_period_ms > 0) {
			samples_per_sec = (float)total_samples_collected * 1000.0f / (float)status_period_ms;
		}
		
		/* Collect device status (memory and CPU) */
		char mem_info[128] = "N/A";
		char cpu_info[32] = "N/A";
		
		#ifdef CONFIG_SYS_HEAP_RUNTIME_STATS
		struct sys_memory_stats sys_mem_stats;
		size_t sys_total = 0;
		size_t sys_used = 0;
		
		if (sys_heap_runtime_stats_get(&_system_heap, &sys_mem_stats) == 0) {
			sys_total = sys_mem_stats.free_bytes + sys_mem_stats.allocated_bytes;
			sys_used = sys_mem_stats.allocated_bytes;
		}
		
		/* Also get modem library heap stats if available */
		#if defined(CONFIG_NRF_MODEM_LIB) && defined(CONFIG_NRF_MODEM_LIB_MEM_DIAG)
		struct nrf_modem_lib_diag_stats modem_stats;
		size_t modem_total = 0;
		size_t modem_used = 0;
		
		if (nrf_modem_is_initialized() && 
		    nrf_modem_lib_diag_stats_get(&modem_stats) == 0) {
			modem_total = modem_stats.library.heap.free_bytes + 
			              modem_stats.library.heap.allocated_bytes;
			modem_used = modem_stats.library.heap.allocated_bytes;
		}
		
		/* Combine system and modem heap stats */
		size_t total_mem = sys_total + modem_total;
		size_t used_mem = sys_used + modem_used;
		float mem_used_pct = total_mem > 0 ? 
			(100.0f * (float)used_mem / (float)total_mem) : 0.0f;
		
		if (modem_total > 0) {
			/* Show combined stats: sys+modem */
			snprintf(mem_info, sizeof(mem_info), "heap=%lu/%lu (%.1f%%, sys:%lu+modem:%lu)",
				(unsigned long)used_mem, 
				(unsigned long)total_mem, 
				(double)mem_used_pct,
				(unsigned long)sys_used,
				(unsigned long)modem_used);
		} else {
			/* Only system heap available */
			snprintf(mem_info, sizeof(mem_info), "heap=%lu/%lu (%.1f%%)",
				(unsigned long)sys_used, 
				(unsigned long)sys_total, 
				(double)mem_used_pct);
		}
		#else
		/* Only system heap, no modem */
		float mem_used_pct = sys_total > 0 ? 
			(100.0f * (float)sys_used / (float)sys_total) : 0.0f;
		snprintf(mem_info, sizeof(mem_info), "heap=%lu/%lu (%.1f%%)",
			(unsigned long)sys_used, 
			(unsigned long)sys_total, 
			(double)mem_used_pct);
		#endif
		#endif
		
		#ifdef CONFIG_SCHED_THREAD_USAGE_ALL
		k_thread_runtime_stats_t cpu_stats;
		int cpu_ret = k_thread_runtime_stats_all_get(&cpu_stats);
		if (cpu_ret == 0) {
			float cpu_util = 0.0f;
			/* execution_cycles = total_cycles + idle_cycles for CPU stats */
			/* CPU utilization = (non-idle / total) * 100 */
			if (cpu_stats.execution_cycles > 0) {
				cpu_util = 100.0f * (float)cpu_stats.total_cycles / 
					(float)cpu_stats.execution_cycles;
				/* Clamp to valid range */
				if (cpu_util > 100.0f) {
					cpu_util = 100.0f;
				}
				if (cpu_util < 0.0f) {
					cpu_util = 0.0f;
				}
			}
			snprintf(cpu_info, sizeof(cpu_info), "%.1f%%", (double)cpu_util);
		} else {
			/* Stats not available yet or error */
			snprintf(cpu_info, sizeof(cpu_info), "err:%d", cpu_ret);
		}
		#endif
		
		LOG_INF("STATUS: uuid=%s, elapsed=%lld, gps_state=%s, baro_state=%s, "
			"lat=%.6f, lon=%.6f, alt=%.1f, pressure=%.1f Pa, temp=%.1f C, samples/sec=%.2f, "
			"mem=%s, cpu=%s",
			session->uuid,
			elapsed,
			gps_state_name(gps_data->state),
			baro_state_name(baro_data->state),
			gps_data->latitude,
			gps_data->longitude,
			(double)baro_data->altitude_ft,
			(double)baro_data->pressure_pa,
			(double)baro_data->temperature_c,
			(double)samples_per_sec,
			mem_info,
			cpu_info);
		
		/* Reset counters for next status period */
		total_samples_collected = 0;
		status_period_start_ms = now;
		last_status_time_ms = now;
	}
}

flight_status_t flight_timer_get_status(void)
{
	return timer_data.status;
}

const struct flight_timer_data *flight_timer_get_data(void)
{
	return &timer_data;
}

int64_t flight_timer_get_flight_time_ms(void)
{
	int64_t total = timer_data.total_flight_time_ms;
	
	/* Add current flight time if airborne */
	if (timer_data.currently_airborne) {
		total += (k_uptime_get() - timer_data.flight_start_ms);
	}
	
	return total;
}

int64_t flight_timer_get_session_time_ms(void)
{
	return k_uptime_get() - timer_data.session_start_ms;
}

void flight_timer_periodic_update(void)
{
	int64_t now = k_uptime_get();
	
	/* Check for periodic save */
	if (now - last_save_time_ms >= SAVE_INTERVAL_MS) {
		flight_timer_save();
		last_save_time_ms = now;
	}
}

bool flight_timer_needs_save(void)
{
	int64_t now = k_uptime_get();
	return (now - last_save_time_ms >= SAVE_INTERVAL_MS);
}

int flight_timer_save(void)
{
	/* Get status changes from buffer */
	struct state_change_entry state_changes[STATUS_CHANGE_BUFFER_SIZE];
	uint16_t count = flight_timer_get_status_changes(state_changes, STATUS_CHANGE_BUFFER_SIZE);
	
	/* Update stop position with current GPS position */
	const struct gps_state_data *gps_data = gps_state_get_data();
	if (gps_data->latitude != 0.0 && gps_data->longitude != 0.0) {
		session_mgr_update_position(gps_data->latitude, gps_data->longitude);
	}
	
	/* Save session to SD card */
	int ret = session_mgr_save(state_changes, count);
	if (ret != 0) {
		LOG_ERR("Failed to save session: %d", ret);
		return ret;
	}
	
	LOG_DBG("Session saved (flight time: %lld ms, %d state changes)",
		flight_timer_get_flight_time_ms(), count);
	
	return 0;
}
```

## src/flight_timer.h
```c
/*
 * Flight Timer Module
 * Coordinates state machines and manages flight timing
 */

#ifndef FLIGHT_TIMER_H
#define FLIGHT_TIMER_H

#include <stdint.h>
#include <stdbool.h>
#include "gps_state.h"
#include "baro_state.h"

/**
 * @brief Combined flight state
 */
typedef enum {
	FLIGHT_STATUS_GROUND = 0,   /* On ground */
	FLIGHT_STATUS_AIRBORNE,     /* Flying */
} flight_status_t;

/**
 * @brief State change entry for session tracking
 */
struct state_change_entry {
	flight_status_t status;  /* FLIGHT_STATUS_GROUND or FLIGHT_STATUS_AIRBORNE */
	int64_t timestamp_ms;   /* Timestamp in milliseconds */
};

/**
 * @brief Flight timer data
 */
struct flight_timer_data {
	flight_status_t status;
	int64_t session_start_ms;
	int64_t flight_start_ms;      /* When airborne started */
	int64_t total_flight_time_ms; /* Accumulated flight time */
	bool currently_airborne;
};

/**
 * @brief Initialize flight timer
 * @return 0 on success, negative errno on failure
 */
int flight_timer_init(void);

/**
 * @brief Start flight timer (new session)
 * @return 0 on success, negative errno on failure
 */
int flight_timer_start(void);

/**
 * @brief Process a GPS PVT update
 * @param pvt Pointer to PVT data frame
 */
void flight_timer_process_gps(const struct nrf_modem_gnss_pvt_data_frame *pvt);

/**
 * @brief Process a barometer sample
 * @param pressure_pa Pressure in Pascals
 * @param temperature_c Temperature in Celsius
 */
void flight_timer_process_baro(float pressure_pa, float temperature_c);

/**
 * @brief Get current flight status
 * @return Current flight status
 */
flight_status_t flight_timer_get_status(void);

/**
 * @brief Get flight timer data
 * @return Pointer to flight timer data
 */
const struct flight_timer_data *flight_timer_get_data(void);

/**
 * @brief Get total flight time in current session
 * @return Flight time in milliseconds
 */
int64_t flight_timer_get_flight_time_ms(void);

/**
 * @brief Get session elapsed time
 * @return Elapsed time in milliseconds
 */
int64_t flight_timer_get_session_time_ms(void);

/**
 * @brief Periodic update task (call from main loop)
 * Saves session state periodically
 */
void flight_timer_periodic_update(void);

/**
 * @brief Check if periodic save is needed
 * @return true if save needed
 */
bool flight_timer_needs_save(void);

/**
 * @brief Force save session state
 * @return 0 on success, negative errno on failure
 */
int flight_timer_save(void);

/**
 * @brief Get status change buffer for session saving
 * @param buffer Output buffer for status changes
 * @param max_count Maximum number of entries to copy
 * @return Number of status changes copied
 */
uint16_t flight_timer_get_status_changes(struct state_change_entry *buffer, uint16_t max_count);

#endif /* FLIGHT_TIMER_H */
```

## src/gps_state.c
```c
/*
 * GPS State Machine
 * Tracks flight state based on GPS speed with hysteresis
 */

#include "gps_state.h"

#include <zephyr/kernel.h>
#include <zephyr/logging/log.h>

LOG_MODULE_REGISTER(gps_state, CONFIG_LOG_DEFAULT_LEVEL);

/* Speed thresholds in knots */
#define SPEED_STOPPED_MAX_KTS      5.0f
#define SPEED_TAXI_MIN_KTS         5.0f
#define SPEED_TAXI_MAX_KTS         50.0f
#define SPEED_FLIGHT_MIN_KTS       50.0f

/* Hysteresis thresholds */
#define HYST_STOPPED_TO_TAXI_KTS   8.0f   /* Must exceed 8 kts to enter taxi */
#define HYST_TAXI_TO_STOPPED_KTS   4.0f   /* Must drop below 4.0 kts to stop */
#define HYST_TAXI_TO_FLIGHT_KTS    55.0f  /* Must exceed 55 kts to enter flight */
#define HYST_FLIGHT_TO_TAXI_KTS    45.0f  /* Must drop below 45 kts to exit flight */

/* Stale threshold in milliseconds */
#define STALE_THRESHOLD_MS         20000

/* Conversion factor: m/s to knots */
#define MPS_TO_KTS                 1.94384f

static struct gps_state_data state_data;
static uint32_t valid_fix_count = 0;  /* Count of valid fixes received */

int gps_state_init(void)
{
	memset(&state_data, 0, sizeof(state_data));
	state_data.state = GPS_STATE_UNKNOWN;
	state_data.prev_state = GPS_STATE_UNKNOWN;
	state_data.last_fix_time_ms = 0;
	state_data.state_enter_time_ms = k_uptime_get();
	state_data.has_fix = false;
	valid_fix_count = 0;

	LOG_INF("GPS state machine initialized");
	return 0;
}

static gps_state_t calculate_new_state(float speed_kts, gps_state_t current)
{
	gps_state_t new_state = current;

	switch (current) {
	case GPS_STATE_UNKNOWN:
		/* Transition to stopped if we have valid low speed */
		if (speed_kts < SPEED_STOPPED_MAX_KTS) {
			new_state = GPS_STATE_STOPPED;
		} else if (speed_kts < SPEED_TAXI_MAX_KTS) {
			new_state = GPS_STATE_TAXI;
		} else {
			new_state = GPS_STATE_FLIGHT;
		}
		break;

	case GPS_STATE_STOPPED:
		/* Use hysteresis to enter taxi */
		if (speed_kts >= HYST_STOPPED_TO_TAXI_KTS) {
			new_state = GPS_STATE_TAXI;
		}
		break;

	case GPS_STATE_TAXI:
		/* Use hysteresis for transitions */
		if (speed_kts < HYST_TAXI_TO_STOPPED_KTS) {
			new_state = GPS_STATE_STOPPED;
		} else if (speed_kts >= HYST_TAXI_TO_FLIGHT_KTS) {
			new_state = GPS_STATE_FLIGHT;
		}
		break;

	case GPS_STATE_FLIGHT:
		/* Use hysteresis to exit flight */
		if (speed_kts < HYST_FLIGHT_TO_TAXI_KTS) {
			new_state = GPS_STATE_TAXI;
		}
		break;
	}

	return new_state;
}

bool gps_state_update(const struct nrf_modem_gnss_pvt_data_frame *pvt)
{
	if (pvt == NULL) {
		return false;
	}

	int64_t now = k_uptime_get();
	gps_state_t old_state = state_data.state;
	gps_state_t new_state;

	/* Check if we have a valid fix */
	bool valid_fix = (pvt->flags & NRF_MODEM_GNSS_PVT_FLAG_FIX_VALID) != 0;

	if (valid_fix) {
		state_data.last_fix_time_ms = now;
		state_data.has_fix = true;
		state_data.latitude = pvt->latitude;
		state_data.longitude = pvt->longitude;
		state_data.altitude_m = pvt->altitude;
		state_data.speed_mps = pvt->speed;
		state_data.speed_kts = pvt->speed * MPS_TO_KTS;

		/* Increment valid fix counter */
		valid_fix_count++;

		/* Prevent state transitions from UNKNOWN until we have enough fixes */
		/* This prevents false state changes from inaccurate initial GPS readings */
		if (state_data.state == GPS_STATE_UNKNOWN) {
			if (valid_fix_count < GPS_STATE_MIN_FIXES_FOR_STATE_CHANGE) {
				/* Not enough fixes yet - stay in UNKNOWN */
				new_state = GPS_STATE_UNKNOWN;
			} else {
				/* Enough fixes collected - allow state transition */
				new_state = calculate_new_state(state_data.speed_kts, state_data.state);
			}
		} else {
			/* Already have a valid state - allow transitions */
			new_state = calculate_new_state(state_data.speed_kts, state_data.state);
		}
	} else {
		/* No valid fix - check if data is stale */
		if (state_data.state != GPS_STATE_UNKNOWN) {
			int64_t age = now - state_data.last_fix_time_ms;
			if (age > STALE_THRESHOLD_MS || state_data.last_fix_time_ms == 0) {
				new_state = GPS_STATE_UNKNOWN;
				state_data.has_fix = false;
				/* Reset fix counter when going stale */
				valid_fix_count = 0;
			} else {
				/* Keep current state, data not stale yet */
				new_state = state_data.state;
			}
		} else {
			new_state = GPS_STATE_UNKNOWN;
			/* Reset fix counter if we're in UNKNOWN and have no fix */
			valid_fix_count = 0;
		}
	}

	/* Update state if changed */
	if (new_state != old_state) {
		state_data.prev_state = old_state;
		state_data.state = new_state;
		state_data.state_enter_time_ms = now;

		LOG_INF("GPS state: %s -> %s (speed: %.1f kts)",
			gps_state_name(old_state),
			gps_state_name(new_state),
			(double)state_data.speed_kts);

		return true;
	}

	return false;
}

gps_state_t gps_state_get(void)
{
	/* Check for stale data */
	if (state_data.state != GPS_STATE_UNKNOWN) {
		int64_t age = k_uptime_get() - state_data.last_fix_time_ms;
		if (age > STALE_THRESHOLD_MS) {
			/* Transition to unknown if stale */
			if (state_data.state != GPS_STATE_UNKNOWN) {
				state_data.prev_state = state_data.state;
				state_data.state = GPS_STATE_UNKNOWN;
				state_data.state_enter_time_ms = k_uptime_get();
				state_data.has_fix = false;
				LOG_WRN("GPS data stale, entering UNKNOWN state");
			}
		}
	}
	return state_data.state;
}

const struct gps_state_data *gps_state_get_data(void)
{
	return &state_data;
}

const char *gps_state_name(gps_state_t state)
{
	switch (state) {
	case GPS_STATE_UNKNOWN: return "unknown";
	case GPS_STATE_STOPPED: return "stopped";
	case GPS_STATE_TAXI:    return "taxi";
	case GPS_STATE_FLIGHT:  return "flight";
	default:                return "invalid";
	}
}

char gps_state_code(gps_state_t state)
{
	switch (state) {
	case GPS_STATE_UNKNOWN: return 'U';
	case GPS_STATE_STOPPED: return 'S';
	case GPS_STATE_TAXI:    return 'T';
	case GPS_STATE_FLIGHT:  return 'F';
	default:                return '?';
	}
}

bool gps_state_is_stale(void)
{
	if (state_data.last_fix_time_ms == 0) {
		return true;
	}
	int64_t age = k_uptime_get() - state_data.last_fix_time_ms;
	return age > STALE_THRESHOLD_MS;
}

uint32_t gps_state_get_fix_count(void)
{
	return valid_fix_count;
}
```

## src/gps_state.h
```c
/*
 * GPS State Machine
 * Tracks flight state based on GPS speed with hysteresis
 */

#ifndef GPS_STATE_H
#define GPS_STATE_H

#include <stdint.h>
#include <stdbool.h>
#include <nrf_modem_gnss.h>

/* Minimum number of valid fixes required before allowing state transitions */
/* Prevents false state changes from inaccurate initial GPS fixes */
#define GPS_STATE_MIN_FIXES_FOR_STATE_CHANGE 5

/**
 * @brief GPS-based flight states
 */
typedef enum {
	GPS_STATE_UNKNOWN = 0,  /* No valid fix or stale data */
	GPS_STATE_STOPPED,      /* Speed < 2 kts */
	GPS_STATE_TAXI,         /* Speed 2-50 kts */
	GPS_STATE_FLIGHT,       /* Speed > 50 kts */
} gps_state_t;

/**
 * @brief GPS state data structure
 */
struct gps_state_data {
	gps_state_t state;
	gps_state_t prev_state;
	int64_t last_fix_time_ms;
	int64_t state_enter_time_ms;
	double latitude;
	double longitude;
	float altitude_m;
	float speed_mps;
	float speed_kts;
	bool has_fix;
};

/**
 * @brief Initialize GPS state machine
 * @return 0 on success, negative errno on failure
 */
int gps_state_init(void);

/**
 * @brief Update GPS state from PVT data
 * @param pvt Pointer to PVT data frame from modem
 * @return true if state changed, false otherwise
 */
bool gps_state_update(const struct nrf_modem_gnss_pvt_data_frame *pvt);

/**
 * @brief Get current GPS state
 * @return Current state
 */
gps_state_t gps_state_get(void);

/**
 * @brief Get GPS state data
 * @return Pointer to state data (read-only)
 */
const struct gps_state_data *gps_state_get_data(void);

/**
 * @brief Get state name string
 * @param state State enum value
 * @return State name string
 */
const char *gps_state_name(gps_state_t state);

/**
 * @brief Get single-char state code for logging
 * @param state State enum value
 * @return Single character code
 */
char gps_state_code(gps_state_t state);

/**
 * @brief Check if GPS data is stale (>20 seconds old)
 * @return true if stale, false otherwise
 */
bool gps_state_is_stale(void);

/**
 * @brief Get the count of valid fixes received (for debugging)
 * @return Number of valid fixes received since initialization or last reset
 */
uint32_t gps_state_get_fix_count(void);

#endif /* GPS_STATE_H */
```

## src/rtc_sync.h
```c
/*
 * RTC Synchronization Module
 * Manages PCF8523 RTC and syncs with GPS time
 */

#ifndef RTC_SYNC_H
#define RTC_SYNC_H

#include <stdint.h>
#include <stdbool.h>
#include <nrf_modem_gnss.h>

/**
 * @brief Initialize the RTC module
 * @return 0 on success, negative errno on failure
 */
int rtc_sync_init(void);

/**
 * @brief Sync RTC from GPS time
 * @param gps_time Pointer to GPS datetime structure
 * @param flags PVT flags (to check leap second validity)
 * @return 0 on success, negative errno on failure
 */
int rtc_sync_from_gps(const struct nrf_modem_gnss_datetime *gps_time, uint8_t flags);

/**
 * @brief Get current timestamp in milliseconds
 * Uses RTC if available, falls back to uptime
 * @return Unix timestamp in milliseconds
 */
int64_t rtc_get_timestamp_ms(void);

/**
 * @brief Check if RTC has been synced with GPS
 * @return true if synced, false otherwise
 */
bool rtc_is_synced(void);

/**
 * @brief Check if RTC needs initial sync (oscillator stopped or invalid time)
 * @return true if RTC needs sync, false if it has valid time
 */
bool rtc_needs_sync(void);

/**
 * @brief Get FAT filesystem timestamp
 * For use with get_fattime() hook
 * @return FAT timestamp format
 */
uint32_t rtc_get_fattime(void);

#endif /* RTC_SYNC_H */
```
